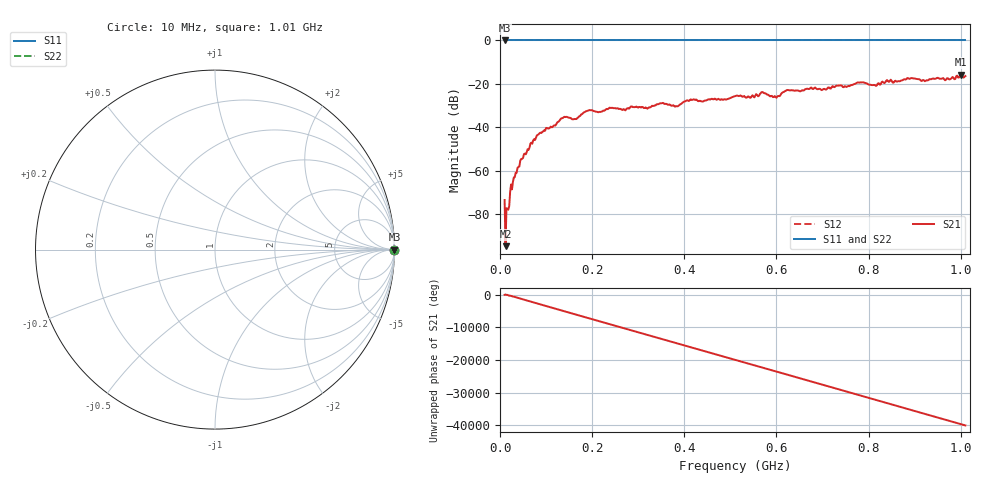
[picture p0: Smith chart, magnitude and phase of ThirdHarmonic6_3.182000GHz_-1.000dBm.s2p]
! 8/17/2025 9:36:47 AM
! C:\ANRITSUVNA\TEMP\TEMP.S2P
! CHANNEL.1
! TR.MEASUREMENT
! RAW.DATA
! RF.CORRECTION.OFF
! AVERAGING.OFF
! IF.BANDWIDTH: 5KHZ
! SWEEPTYPE:  FREQ.SWEEP(Linear)
! Reference Plane Port Info
! PORT:  PORT1  PORT2
! DISTANCE:  0  m  0  m
! TIME:  0  s  0  s
! PHASE.OFFSET:  0  deg.  0  deg.
! LOSS:  0  dB  0  dB
! REF.LOSS:  0  dB  0  dB
! REF.FREQ:  0  Hz  0  Hz
! Power Info
! POWER:  -20  dBm  -20  dBm
! EFF.POWER:  -20  dBm  -20  dBm
! SOURCE.ATTEN:  0  dB  0  dB
! TEST.ATTEN:  0  dB  0  dB
# GHZ S RI R 50.0
! FREQ.GHZ  S11RE  S11IM  S21RE  S21IM  S12RE  S12IM  S22RE  S22IM
!; PortSelection: Port_12
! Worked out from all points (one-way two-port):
!   501 points, 10 MHz to 1.01 GHz, reference 50 ohm
!   highest |S21| = -15.67 dB at 1 GHz (marker M1); lowest = -94.6 dB at 12 MHz (marker M2)
!   lowest |S11| = 0.0 dB at 10 MHz (marker M3)
!   |S11| at or under -10 dB: nowhere
!   |S22| runs from 0.0 to 0.0 dB; largest |S21 - S12| = 1.1
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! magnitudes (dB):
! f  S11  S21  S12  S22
! 10 MHz  0.0  -73.3  0.0  0.0
! 12 MHz  0.0  -94.6  0.0  0.0
! 16 MHz  0.0  -77.4  0.0  0.0
! 26 MHz  0.0  -68.5  0.0  0.0
! 42 MHz  0.0  -58.0  0.0  0.0
! 82 MHz  0.0  -43.4  0.0  0.0
! 136 MHz  0.0  -35.7  0.0  0.0
! 162 MHz  0.0  -36.1  0.0  0.0
! 178 MHz  0.0  -33.9  0.0  0.0
! 344 MHz  0.0  -29.3  0.0  0.0
! 382 MHz  0.0  -30.2  0.0  0.0
! 416 MHz  0.0  -27.4  0.0  0.0
! 510 MHz  0.0  -25.6  0.0  0.0
! 570 MHz  0.0  -23.7  0.0  0.0
! 596 MHz  0.0  -25.6  0.0  0.0
! 622 MHz  0.0  -22.9  0.0  0.0
! 678 MHz  0.0  -22.3  0.0  0.0
! 780 MHz  0.0  -19.4  0.0  0.0
! 814 MHz  0.0  -20.6  0.0  0.0
! 844 MHz  0.0  -19.1  0.0  0.0
! 1 GHz  0.0  -15.7  0.0  0.0
! 1.01 GHz  0.0  -16.4  0.0  0.0
